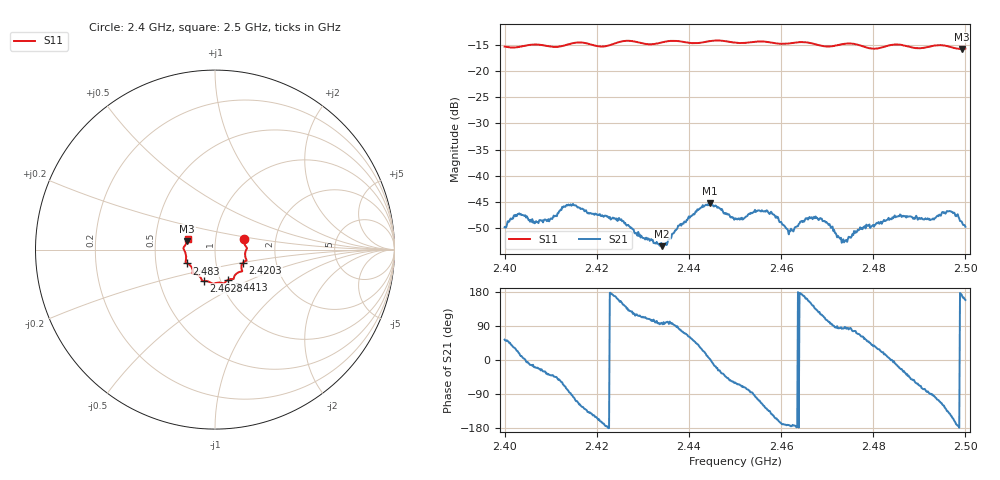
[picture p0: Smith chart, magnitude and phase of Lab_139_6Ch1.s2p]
# Hz S RI R 50
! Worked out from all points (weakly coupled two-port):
!   601 points, 2.4 GHz to 2.5 GHz, reference 50 ohm
!   highest |S21| = -45.16 dB at 2.4445 GHz (marker M1); lowest = -53.4 dB at 2.4342 GHz (marker M2)
!   lowest |S11| = -15.8 dB at 2.4992 GHz (marker M3), VSWR 1.39, Z = 36.4 + j3.52 ohm
!   |S11| at or under -10 dB: start of sweep to end of sweep
!   S12 and S22 are empty: the file has one direction only
!   S11 on the Smith chart (normalised r, x): 2.4 GHz: 1.37, +0.16; 2.4203 GHz: 1.35, -0.21; 2.4413 GHz: 1.09, -0.38; 2.4628 GHz: 0.83, -0.30; 2.483 GHz: 0.72, -0.11; 2.5 GHz: 0.73, +0.09
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2.4e9  0.1608 0.057  0.00193 0.00262  0 0  0 0
2.403e9  0.1672 0.0253  0.0041 0.00143  0 0  0 0
2.406833e9  0.1784 0.00803  0.00347 -0.0013  0 0  0 0
2.413833e9  0.1722 -0.0501  0.000818 -0.00527  0 0  0 0
2.416667e9  0.1762 -0.0616  -0.0026 -0.0041  0 0  0 0
2.420333e9  0.1551 -0.0739  -0.00395 -0.00162  0 0  0 0
2.425333e9  0.151 -0.1167  -0.00344 0.00175  0 0  0 0
2.433333e9  0.1079 -0.1484  -0.000253 0.00224  0 0  0 0
2.434167e9  0.1059 -0.1545  -0.000236 0.00213  0 0  0 0
2.441333e9  0.0744 -0.168  0.00298 0.00329  0 0  0 0
2.4445e9  0.0539 -0.1846  0.00551 0.000275  0 0  0 0
2.45e9  0.0292 -0.1837  0.002 -0.00336  0 0  0 0
2.4565e9  -0.0143 -0.1897  -0.00267 -0.00378  0 0  0 0
2.462833e9  -0.063 -0.1748  -0.00307 -0.000386  0 0  0 0
2.466667e9  -0.0744 -0.1676  -0.00333 0.00227  0 0  0 0
2.47e9  -0.0926 -0.1436  -0.000927 0.00345  0 0  0 0
2.473667e9  -0.1217 -0.1341  0.000261 0.00231  0 0  0 0
2.483e9  -0.155 -0.0769  0.00376 0.000619  0 0  0 0
2.483333e9  -0.1572 -0.0759  0.00396 0.000423  0 0  0 0
2.4965e9  -0.1694 0.0191  -0.00359 -0.00291  0 0  0 0
2.499167e9  -0.155 0.0471  -0.00366 0.000451  0 0  0 0
2.5e9  -0.1527 0.0585  -0.00304 0.00121  0 0  0 0
